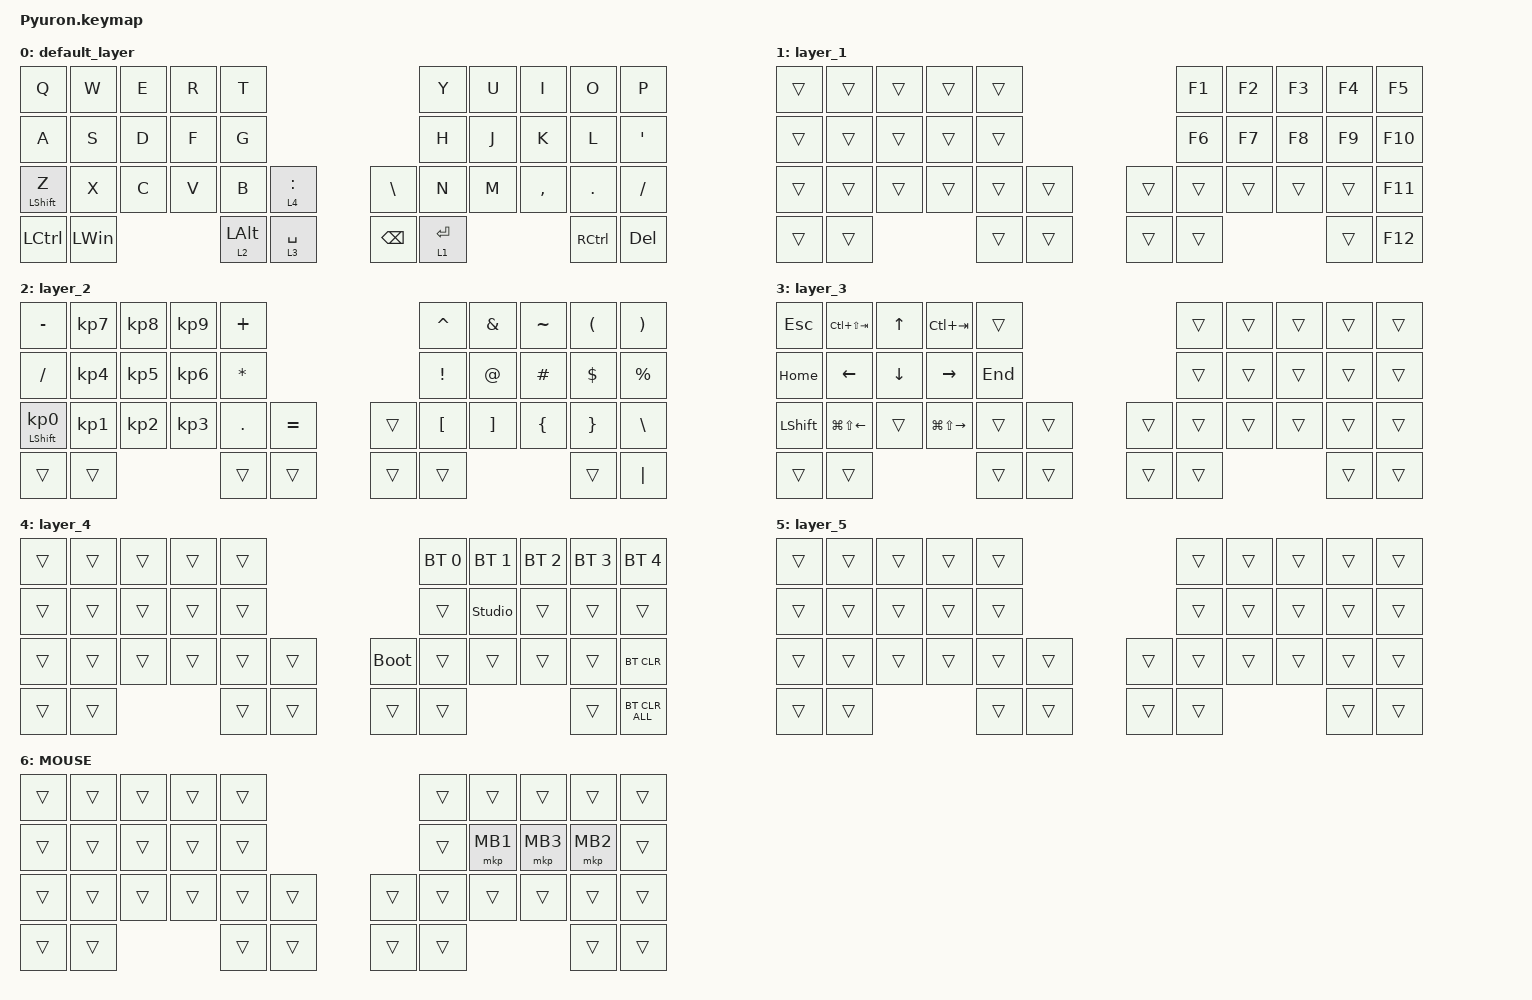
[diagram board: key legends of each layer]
#include <input/processors.dtsi>
#include <dt-bindings/zmk/input_transform.h>
#include <zephyr/dt-bindings/input/input-event-codes.h>
#include <behaviors.dtsi>
#include <behaviors/runtime-sensor-rotate.dtsi>
#include <dt-bindings/zmk/bt.h>
#include <dt-bindings/zmk/keys.h>
#include <dt-bindings/zmk/outputs.h>
#include <dt-bindings/zmk/pointing.h>

/* ZMK 側で 10 が定義済みなので警告回避のため一旦 undef */
#undef ZMK_POINTING_DEFAULT_SCRL_VAL
#define ZMK_POINTING_DEFAULT_SCRL_VAL 100

&mt {
flavor = "balanced";
quick-tap-ms = <0>;
};

&lt {
quick-tap-ms = <200>;
flavor = "balanced";
};

&msc {
delay-ms = <0>;
time-to-max-speed-ms = <0>;
acceleration-exponent = <0>;
};

/ {
combos {
compatible = "zmk,combos";

layer4_ESC {
bindings = <&lt 4 ESC>;
key-positions = <39 38>;
};

tab {
bindings = <&kp TAB>;
key-positions = <11 12>;
};
};

macros {
to_layer_0: to_layer_0 {
compatible = "zmk,behavior-macro-one-param";
#binding-cells = <1>;
bindings = <&to 0 &macro_param_1to1 &kp MACRO_PLACEHOLDER>;
label = "TO_LAYER_0";
};

BT0: BT0 {
compatible = "zmk,behavior-macro";
#binding-cells = <0>;
bindings =
<&tog_off 0 &tog_off 1>,
<&macro_wait_time 200>,
<&bt BT_SEL 0>,
<&macro_wait_time 500>,
<&tog_on 0>;

label = "BT0";
};

BT1: BT1 {
compatible = "zmk,behavior-macro";
#binding-cells = <0>;
bindings =
<&tog_off 0 &tog_off 1>,
<&macro_wait_time 200>,
<&bt BT_SEL 1>,
<&macro_wait_time 500>,
<&tog_on 1>;

label = "BT1";
};

screenshot: screenshot {
compatible = "zmk,behavior-macro";
#binding-cells = <0>;
bindings =
<&macro_press>,
<&kp LEFT_GUI &kp RSHIFT>,
<&macro_wait_time 20>,
<&macro_tap>,
<&kp S>,
<&macro_release>,
<&kp LEFT_GUI &kp RSHIFT>;

label = "SCREENSHOT";
};

henkan: henkan {
compatible = "zmk,behavior-macro";
#binding-cells = <0>;
bindings =
<&macro_press>,
<&kp LEFT_ALT>,
<&macro_wait_time 20>,
<&macro_tap>,
<&kp GRAVE>,
<&macro_release>,
<&kp LEFT_ALT>;

label = "HENKAN";
};
};

behaviors {
lt_to_layer_0: lt_to_layer_0 {
compatible = "zmk,behavior-hold-tap";
label = "LAYER_TAP_TO_0";
bindings = <&mo>, <&to_layer_0>;

#binding-cells = <2>;
tapping-term-ms = <200>;
};

tp_repeat_mo1: tp_repeat_mo1 {
compatible = "zmk,behavior-hold-tap";
label = "TP_REPEAT_MO1";
bindings = <&mo>, <&key_repeat>;

#binding-cells = <2>;
tapping-term-ms = <200>;
};

// エンコーダ用 runtime-configurable sensor rotate
// デフォルトはスクロール (cw=SCRL_DOWN, ccw=SCRL_UP)
// DYA Studio Web UI から レイヤーごとに cw/ccw の binding を
// kp C_VOL_UP/DN や kp LEFT/RIGHT などへ動的変更可能
rsr_default: rsr_default {
compatible = "zmk,behavior-runtime-sensor-rotate";
#sensor-binding-cells = <0>;
tap-ms = <16>;
cw-binding = <&msc SCRL_DOWN>;
ccw-binding = <&msc SCRL_UP>;
};

tog_on: toggle_layer_on_only {
compatible = "zmk,behavior-toggle-layer";
#binding-cells = <1>;
display-name = "Toggle Layer On";
toggle-mode = "on";
};

tog_off: toggle_layer_off_only {
compatible = "zmk,behavior-toggle-layer";
#binding-cells = <1>;
display-name = "Toggle Layer Off";
toggle-mode = "off";
};

zfold: zfold {
compatible = "zmk,behavior-hold-tap";
label = "ZFOLD";
bindings = <&kp>, <&kp>;

#binding-cells = <2>;
tapping-term-ms = <300>;
flavor = "hold-preferred";
quick-tap-ms = <150>;
hold-while-undecided;
};

zfoldZ: zfoldZ {
compatible = "zmk,behavior-tap-dance";
label = "ZFOLDZ";
#binding-cells = <0>;
bindings = <&zfold LEFT_SHIFT Z>, <&kp LS(Z)>;
};
};

    keymap {
        compatible = "zmk,keymap";

        default_layer {
            bindings = <
&kp Q             &kp W      &kp E      &kp R         &kp T           &kp Y        &kp U          &kp I        &kp O              &kp P
&kp A             &kp S      &kp D      &kp F         &kp G           &kp H        &kp J          &kp K        &kp L              &kp SQT
&mt LEFT_SHIFT Z  &kp X      &kp C      &kp V         &kp B           &lt 4 COLON  &kp BACKSLASH  &kp N        &kp M              &kp COMMA
&kp DOT           &kp SLASH  &kp LCTRL  &kp LEFT_WIN  &lt 2 LEFT_ALT  &lt 3 SPACE  &kp BACKSPACE  &lt 1 ENTER  &kp RIGHT_CONTROL  &kp DEL
            >;
        };

        layer_1 {
            bindings = <
&trans  &trans   &trans  &trans  &trans  &kp F1  &kp F2  &kp F3  &kp F4  &kp F5
&trans  &trans   &trans  &trans  &trans  &kp F6  &kp F7  &kp F8  &kp F9  &kp F10
&trans  &trans   &trans  &trans  &trans  &trans  &trans  &trans  &trans  &trans
&trans  &kp F11  &trans  &trans  &trans  &trans  &trans  &trans  &trans  &kp F12
            >;
        };

        layer_2 {
            bindings = <
&kp MINUS                   &kp KP_NUMBER_7  &kp KP_NUMBER_8  &kp KP_NUMBER_9  &kp PLUS      &kp CARET        &kp AMPERSAND  &kp TILDE         &kp LEFT_PARENTHESIS  &kp RIGHT_PARENTHESIS
&kp SLASH                   &kp KP_NUMBER_4  &kp KP_NUMBER_5  &kp KP_NUMBER_6  &kp ASTERISK  &kp EXCLAMATION  &kp AT_SIGN    &kp HASH          &kp DOLLAR            &kp PERCENT
&mt LEFT_SHIFT KP_NUMBER_0  &kp KP_NUMBER_1  &kp KP_NUMBER_2  &kp KP_NUMBER_3  &kp PERIOD    &kp EQUAL        &trans         &kp LEFT_BRACKET  &kp RIGHT_BRACKET     &kp LEFT_BRACE
&kp RIGHT_BRACE             &kp BACKSLASH    &trans           &trans           &trans        &trans           &trans         &trans            &trans                &kp PIPE
            >;
        };

        layer_3 {
            bindings = <
&kp ESCAPE      &kp LC(LS(TAB))         &kp UP_ARROW    &kp LC(TAB)              &trans   &trans  &trans  &trans  &trans  &trans
&kp HOME        &kp LEFT_ARROW          &kp DOWN_ARROW  &kp RIGHT_ARROW          &kp END  &trans  &trans  &trans  &trans  &trans
&kp LEFT_SHIFT  &kp LG(LS(LEFT_ARROW))  &trans          &kp LG(LS(RIGHT_ARROW))  &trans   &trans  &trans  &trans  &trans  &trans
&trans          &trans                  &trans          &trans                   &trans   &trans  &trans  &trans  &trans  &trans
            >;
        };

        layer_4 {
            bindings = <
&trans  &trans      &trans  &trans  &trans  &bt BT_SEL 0  &bt BT_SEL 1  &bt BT_SEL 2  &bt BT_SEL 3  &bt BT_SEL 4
&trans  &trans      &trans  &trans  &trans  &trans        &studio_unlock        &trans        &trans        &trans
&trans  &trans      &trans  &trans  &trans  &trans        &bootloader   &trans        &trans        &trans
&trans  &bt BT_CLR  &trans  &trans  &trans  &trans        &trans        &trans        &trans        &bt BT_CLR_ALL
            >;
        };

        layer_5 {
            bindings = <
&trans  &trans  &trans  &trans  &trans  &trans  &trans  &trans  &trans  &trans
&trans  &trans  &trans  &trans  &trans  &trans  &trans  &trans  &trans  &trans
&trans  &trans  &trans  &trans  &trans  &trans  &trans  &trans  &trans  &trans
&trans  &trans  &trans  &trans  &trans  &trans  &trans  &trans  &trans  &trans
            >;
        };

        MOUSE {
            bindings = <
&trans  &trans  &trans  &trans  &trans  &trans  &trans    &trans    &trans    &trans
&trans  &trans  &trans  &trans  &trans  &trans  &mkp MB1  &mkp MB3  &mkp MB2  &trans
&trans  &trans  &trans  &trans  &trans  &trans  &trans    &trans    &trans    &trans
&trans  &trans  &trans  &trans  &trans  &trans  &trans    &trans    &trans    &trans
            >;
        };
    };
};
